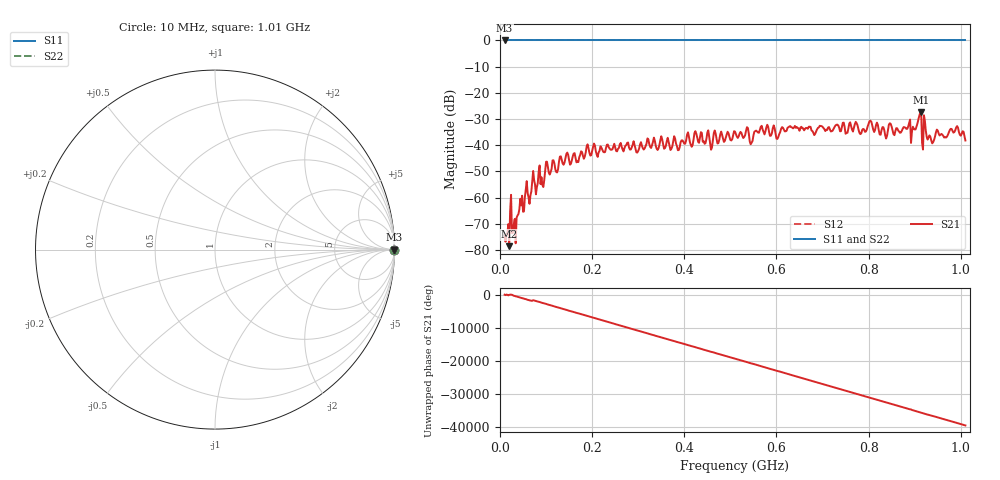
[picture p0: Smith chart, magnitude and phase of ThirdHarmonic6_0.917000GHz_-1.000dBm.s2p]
! 8/16/2025 5:58:58 AM
! C:\ANRITSUVNA\TEMP\TEMP.S2P
! CHANNEL.1
! TR.MEASUREMENT
! RAW.DATA
! RF.CORRECTION.OFF
! AVERAGING.OFF
! IF.BANDWIDTH: 5KHZ
! SWEEPTYPE:  FREQ.SWEEP(Linear)
! Reference Plane Port Info
! PORT:  PORT1  PORT2
! DISTANCE:  0  m  0  m
! TIME:  0  s  0  s
! PHASE.OFFSET:  0  deg.  0  deg.
! LOSS:  0  dB  0  dB
! REF.LOSS:  0  dB  0  dB
! REF.FREQ:  0  Hz  0  Hz
! Power Info
! POWER:  -20  dBm  -20  dBm
! EFF.POWER:  -20  dBm  -20  dBm
! SOURCE.ATTEN:  0  dB  0  dB
! TEST.ATTEN:  0  dB  0  dB
# GHZ S RI R 50.0
! FREQ.GHZ  S11RE  S11IM  S21RE  S21IM  S12RE  S12IM  S22RE  S22IM
!; PortSelection: Port_12
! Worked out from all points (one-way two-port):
!   501 points, 10 MHz to 1.01 GHz, reference 50 ohm
!   highest |S21| = -27.37 dB at 914 MHz (marker M1); lowest = -78.5 dB at 20 MHz (marker M2)
!   lowest |S11| = 0.0 dB at 10 MHz (marker M3)
!   |S11| at or under -10 dB: nowhere
!   |S22| runs from 0.0 to 0.0 dB; largest |S21 - S12| = 1
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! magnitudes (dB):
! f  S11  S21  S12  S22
! 10 MHz  0.0  -74.5  0.0  0.0
! 16 MHz  0.0  -73.7  0.0  0.0
! 20 MHz  0.0  -78.5  0.0  0.0
! 28 MHz  0.0  -73.4  0.0  0.0
! 30 MHz  0.0  -70.3  0.0  0.0
! 58 MHz  0.0  -53.7  0.0  0.0
! 64 MHz  0.0  -62.3  0.0  0.0
! 86 MHz  0.0  -47.7  0.0  0.0
! 92 MHz  0.0  -55.2  0.0  0.0
! 102 MHz  0.0  -46.3  0.0  0.0
! 178 MHz  0.0  -42.6  0.0  0.0
! 344 MHz  0.0  -41.2  0.0  0.0
! 510 MHz  0.0  -34.8  0.0  0.0
! 546 MHz  0.0  -39.0  0.0  0.0
! 678 MHz  0.0  -34.6  0.0  0.0
! 844 MHz  0.0  -32.1  0.0  0.0
! 896 MHz  0.0  -32.9  0.0  0.0
! 910 MHz  0.0  -28.8  0.0  0.0
! 914 MHz  0.0  -27.4  0.0  0.0
! 938 MHz  0.0  -39.3  0.0  0.0
! 990 MHz  0.0  -33.2  0.0  0.0
! 1.01 GHz  0.0  -38.2  0.0  0.0
